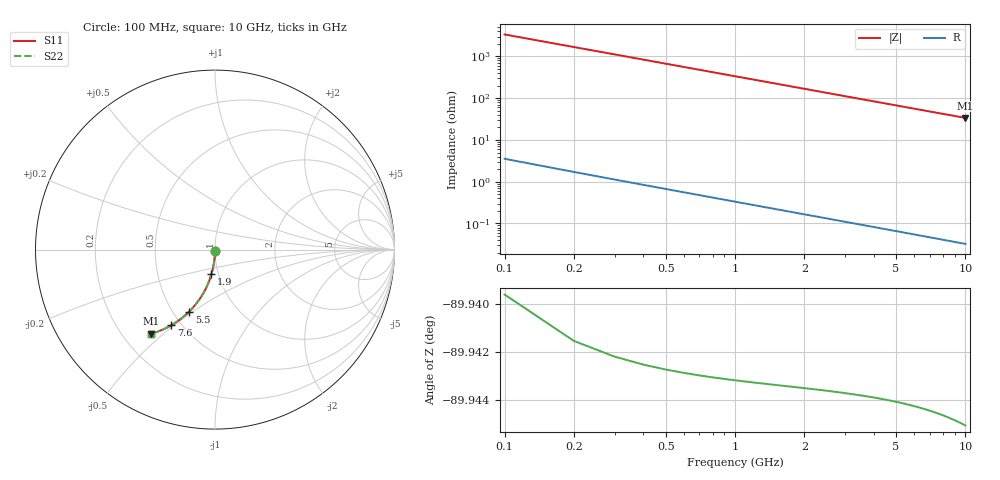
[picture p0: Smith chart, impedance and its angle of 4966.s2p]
# Hz S RI R 50.00
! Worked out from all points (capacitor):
!   100 points, 100 MHz to 10 GHz, reference 50 ohm
!   read as one part in shunt: C = 474 fF near 100 MHz
!   lowest |Z| = 33.7 ohm at 10 GHz (marker M1)
!   S11 on the Smith chart (normalised r, x): 100 MHz: 1.00, -0.01; 1.9 GHz: 0.93, -0.26; 5.5 GHz: 0.60, -0.48; 7.6 GHz: 0.44, -0.49; 10 GHz: 0.32, -0.45
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1e8  -1.97e-05 -0.00735  0.9999 -0.00755  0.9999 -0.00755  -1.97e-05 -0.00735
2e8  -0.000193 -0.0147  0.9997 -0.0151  0.9997 -0.0151  -0.000193 -0.0147
3e8  -0.000478 -0.0221  0.9994 -0.0226  0.9994 -0.0226  -0.000478 -0.0221
4e8  -0.000873 -0.0294  0.999 -0.0302  0.999 -0.0302  -0.000873 -0.0294
5e8  -0.00138 -0.0367  0.9985 -0.0377  0.9985 -0.0377  -0.00138 -0.0367
6e8  -0.00199 -0.044  0.9979 -0.0452  0.9979 -0.0452  -0.00199 -0.044
8e8  -0.00355 -0.0586  0.9964 -0.0602  0.9964 -0.0602  -0.00355 -0.0586
9e8  -0.0045 -0.0659  0.9954 -0.0676  0.9954 -0.0676  -0.0045 -0.0659
1.1e9  -0.00671 -0.0803  0.9932 -0.0824  0.9932 -0.0824  -0.00671 -0.0803
1.4e9  -0.0108 -0.1018  0.9891 -0.1045  0.9891 -0.1045  -0.0108 -0.1018
1.8e9  -0.0177 -0.13  0.9822 -0.1334  0.9822 -0.1334  -0.0177 -0.13
1.9e9  -0.0197 -0.1369  0.9802 -0.1406  0.9802 -0.1406  -0.0197 -0.1369
2.2e9  -0.0263 -0.1575  0.9736 -0.1617  0.9736 -0.1617  -0.0263 -0.1575
2.6e9  -0.0363 -0.1842  0.9636 -0.1891  0.9636 -0.1891  -0.0363 -0.1842
3.4e9  -0.0605 -0.2347  0.9394 -0.2412  0.9394 -0.2412  -0.0605 -0.2347
4.2e9  -0.0894 -0.2809  0.9105 -0.2889  0.9105 -0.2889  -0.0894 -0.2809
5.1e9  -0.1264 -0.327  0.8734 -0.3368  0.8734 -0.3368  -0.1264 -0.327
5.5e9  -0.1441 -0.3454  0.8558 -0.356  0.8558 -0.356  -0.1441 -0.3454
6.7e9  -0.1999 -0.393  0.7999 -0.4059  0.7999 -0.4059  -0.1999 -0.393
7.6e9  -0.2433 -0.4213  0.7565 -0.436  0.7565 -0.436  -0.2433 -0.4213
8.4e9  -0.282 -0.4414  0.7177 -0.4577  0.7177 -0.4577  -0.282 -0.4414
1e10  -0.3578 -0.4692  0.6419 -0.4886  0.6419 -0.4886  -0.3578 -0.4692
